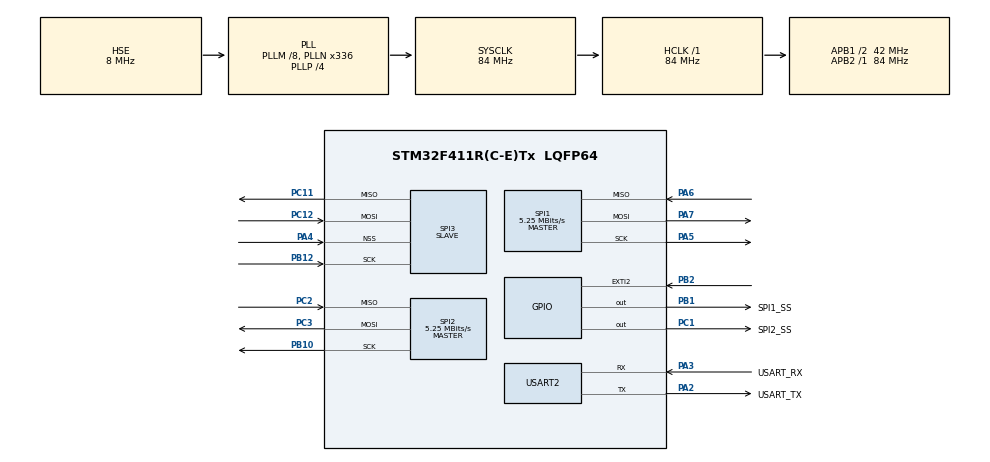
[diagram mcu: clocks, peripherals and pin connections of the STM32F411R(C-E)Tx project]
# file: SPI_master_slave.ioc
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Dma.Request0=USART2_RX
Dma.Request1=USART2_TX
Dma.Request2=SPI2_RX
Dma.Request3=SPI2_TX
Dma.Request4=SPI3_RX
Dma.Request5=SPI3_TX
Dma.SPI2_RX.2.Direction=DMA_PERIPH_TO_MEMORY
Dma.SPI2_RX.2.FIFOMode=DMA_FIFOMODE_DISABLE
Dma.SPI2_RX.2.Instance=DMA1_Stream3
Dma.SPI2_RX.2.MemDataAlignment=DMA_MDATAALIGN_BYTE
Dma.SPI2_RX.2.MemInc=DMA_MINC_ENABLE
Dma.SPI2_RX.2.Mode=DMA_NORMAL
Dma.SPI2_RX.2.PeriphDataAlignment=DMA_PDATAALIGN_BYTE
Dma.SPI2_RX.2.PeriphInc=DMA_PINC_DISABLE
Dma.SPI2_RX.2.Priority=DMA_PRIORITY_LOW
Dma.SPI2_TX.3.Direction=DMA_MEMORY_TO_PERIPH
Dma.SPI2_TX.3.FIFOMode=DMA_FIFOMODE_DISABLE
Dma.SPI2_TX.3.Instance=DMA1_Stream4
Dma.SPI2_TX.3.MemDataAlignment=DMA_MDATAALIGN_BYTE
Dma.SPI2_TX.3.MemInc=DMA_MINC_ENABLE
Dma.SPI2_TX.3.Mode=DMA_NORMAL
Dma.SPI2_TX.3.PeriphDataAlignment=DMA_PDATAALIGN_BYTE
Dma.SPI2_TX.3.PeriphInc=DMA_PINC_DISABLE
Dma.SPI2_TX.3.Priority=DMA_PRIORITY_LOW
Dma.SPI3_RX.4.Direction=DMA_PERIPH_TO_MEMORY
Dma.SPI3_RX.4.FIFOMode=DMA_FIFOMODE_DISABLE
Dma.SPI3_RX.4.Instance=DMA1_Stream0
Dma.SPI3_RX.4.MemDataAlignment=DMA_MDATAALIGN_BYTE
Dma.SPI3_RX.4.MemInc=DMA_MINC_ENABLE
Dma.SPI3_RX.4.Mode=DMA_NORMAL
Dma.SPI3_RX.4.PeriphDataAlignment=DMA_PDATAALIGN_BYTE
Dma.SPI3_RX.4.PeriphInc=DMA_PINC_DISABLE
Dma.SPI3_RX.4.Priority=DMA_PRIORITY_LOW
Dma.SPI3_TX.5.Direction=DMA_MEMORY_TO_PERIPH
Dma.SPI3_TX.5.FIFOMode=DMA_FIFOMODE_DISABLE
Dma.SPI3_TX.5.Instance=DMA1_Stream7
Dma.SPI3_TX.5.MemDataAlignment=DMA_MDATAALIGN_BYTE
Dma.SPI3_TX.5.MemInc=DMA_MINC_ENABLE
Dma.SPI3_TX.5.Mode=DMA_NORMAL
Dma.SPI3_TX.5.PeriphDataAlignment=DMA_PDATAALIGN_BYTE
Dma.SPI3_TX.5.PeriphInc=DMA_PINC_DISABLE
Dma.SPI3_TX.5.Priority=DMA_PRIORITY_LOW
Dma.USART2_RX.0.Direction=DMA_PERIPH_TO_MEMORY
Dma.USART2_RX.0.FIFOMode=DMA_FIFOMODE_DISABLE
Dma.USART2_RX.0.Instance=DMA1_Stream5
Dma.USART2_RX.0.MemDataAlignment=DMA_MDATAALIGN_BYTE
Dma.USART2_RX.0.MemInc=DMA_MINC_ENABLE
Dma.USART2_RX.0.Mode=DMA_NORMAL
Dma.USART2_RX.0.PeriphDataAlignment=DMA_PDATAALIGN_BYTE
Dma.USART2_RX.0.PeriphInc=DMA_PINC_DISABLE
Dma.USART2_RX.0.Priority=DMA_PRIORITY_LOW
Dma.USART2_TX.1.Direction=DMA_MEMORY_TO_PERIPH
Dma.USART2_TX.1.FIFOMode=DMA_FIFOMODE_DISABLE
Dma.USART2_TX.1.Instance=DMA1_Stream6
Dma.USART2_TX.1.MemDataAlignment=DMA_MDATAALIGN_BYTE
Dma.USART2_TX.1.MemInc=DMA_MINC_ENABLE
Dma.USART2_TX.1.Mode=DMA_NORMAL
Dma.USART2_TX.1.PeriphDataAlignment=DMA_PDATAALIGN_BYTE
Dma.USART2_TX.1.PeriphInc=DMA_PINC_DISABLE
Dma.USART2_TX.1.Priority=DMA_PRIORITY_LOW
Mcu.Family=STM32F4
Mcu.Name=STM32F411R(C-E)Tx
Mcu.Package=LQFP64
NVIC.DMA1_Stream0_IRQn=true\:0\:0\:false\:false\:true\:false\:true
NVIC.DMA1_Stream3_IRQn=true\:0\:0\:false\:false\:true\:false\:true
NVIC.DMA1_Stream4_IRQn=true\:0\:0\:false\:false\:true\:false\:true
NVIC.DMA1_Stream5_IRQn=true\:0\:0\:false\:false\:true\:false\:true
NVIC.DMA1_Stream6_IRQn=true\:0\:0\:false\:false\:true\:false\:true
NVIC.DMA1_Stream7_IRQn=true\:0\:0\:false\:false\:true\:false\:true
NVIC.EXTI2_IRQn=true\:0\:0\:false\:false\:true\:true\:true
NVIC.PriorityGroup=NVIC_PRIORITYGROUP_0
NVIC.SPI2_IRQn=true\:0\:0\:false\:false\:true\:true\:true
NVIC.SPI3_IRQn=true\:0\:0\:false\:false\:true\:true\:true
NVIC.USART2_IRQn=true\:0\:0\:false\:false\:true\:true\:true
PA13.GPIO_Label=TMS
PA13.Mode=Serial_Wire
PA13.Signal=SYS_JTMS-SWDIO
PA14.GPIO_Label=TCK
PA14.Mode=Serial_Wire
PA14.Signal=SYS_JTCK-SWCLK
PA2.GPIO_Label=USART_TX
PA2.Mode=Asynchronous
PA2.Signal=USART2_TX
PA3.GPIO_Label=USART_RX
PA3.Mode=Asynchronous
PA3.Signal=USART2_RX
PA4.Mode=NSS_Signal_Hard_Input
PA4.Signal=SPI3_NSS
PA5.Mode=Full_Duplex_Master
PA5.Signal=SPI1_SCK
PA6.Mode=Full_Duplex_Master
PA6.Signal=SPI1_MISO
PA7.Mode=Full_Duplex_Master
PA7.Signal=SPI1_MOSI
PB1.GPIO_Label=SPI1_SS
PB1.GPIO_Speed=GPIO_SPEED_FREQ_MEDIUM
PB1.Signal=GPIO_Output
PB10.Mode=Full_Duplex_Master
PB10.Signal=SPI2_SCK
PB12.Mode=Full_Duplex_Slave
PB12.Signal=SPI3_SCK
PB2.Signal=GPXTI2
PB3.GPIO_Label=SWO
PB3.Signal=SYS_JTDO-SWO
PC1.GPIO_Label=SPI2_SS
PC1.GPIO_Speed=GPIO_SPEED_FREQ_MEDIUM
PC1.Signal=GPIO_Output
PC11.Mode=Full_Duplex_Slave
PC11.Signal=SPI3_MISO
PC12.Mode=Full_Duplex_Slave
PC12.Signal=SPI3_MOSI
PC14-OSC32_IN.Signal=RCC_OSC32_IN
PC15-OSC32_OUT.Signal=RCC_OSC32_OUT
PC2.Mode=Full_Duplex_Master
PC2.Signal=SPI2_MISO
PC3.Mode=Full_Duplex_Master
PC3.Signal=SPI2_MOSI
PH0\ -\ OSC_IN.Mode=HSE-External-Oscillator
PH0\ -\ OSC_IN.Signal=RCC_OSC_IN
PH1\ -\ OSC_OUT.Mode=HSE-External-Oscillator
PH1\ -\ OSC_OUT.Signal=RCC_OSC_OUT
ProjectManager.HeapSize=0x400
ProjectManager.StackSize=0x800
ProjectManager.TargetToolchain=TrueSTUDIO
RCC.48MHZClocksFreq_Value=84000000
RCC.AHBFreq_Value=84000000
RCC.APB1CLKDivider=RCC_HCLK_DIV2
RCC.APB1Freq_Value=42000000
RCC.APB1TimFreq_Value=84000000
RCC.APB2Freq_Value=84000000
RCC.APB2TimFreq_Value=84000000
RCC.CortexFreq_Value=84000000
RCC.DATA_CACHE_ENABLE=0
RCC.FLatency-AdvancedSettings=FLASH_LATENCY_2
RCC.HCLKFreq_Value=84000000
RCC.HSE_VALUE=8000000
RCC.HSI_VALUE=16000000
RCC.LSE_VALUE=32768
RCC.PLLM=8
RCC.PLLN=336
RCC.PLLP=RCC_PLLP_DIV4
RCC.PLLSourceVirtual=RCC_PLLSOURCE_HSE
RCC.SYSCLKFreq_VALUE=84000000
RCC.SYSCLKSource=RCC_SYSCLKSOURCE_PLLCLK
RCC.VCOOutputFreq_Value=336000000
SPI1.BaudRatePrescaler=SPI_BAUDRATEPRESCALER_16
SPI1.CalculateBaudRate=5.25 MBits/s
SPI1.Direction=SPI_DIRECTION_2LINES
SPI1.Mode=SPI_MODE_MASTER
SPI1.VirtualType=VM_MASTER
SPI2.BaudRatePrescaler=SPI_BAUDRATEPRESCALER_8
SPI2.CalculateBaudRate=5.25 MBits/s
SPI2.Direction=SPI_DIRECTION_2LINES
SPI2.Mode=SPI_MODE_MASTER
SPI2.VirtualType=VM_MASTER
SPI3.Direction=SPI_DIRECTION_2LINES
SPI3.Mode=SPI_MODE_SLAVE
SPI3.VirtualNSS=VM_NSSHARD
SPI3.VirtualType=VM_SLAVE
USART2.VirtualMode=VM_ASYNC
board=NUCLEO-F411RE

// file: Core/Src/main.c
/* USER CODE BEGIN Header */
/**
  ******************************************************************************
  * @file           : main.c
  * @brief          : Main program body
  ******************************************************************************
  * @attention
  *
  * <h2><center>&copy; Copyright (c) 2021 STMicroelectronics.
  * All rights reserved.</center></h2>
  *
  * This software component is licensed by ST under BSD 3-Clause license,
  * the "License"; You may not use this file except in compliance with the
  * License. You may obtain a copy of the License at:
  *                        opensource.org/licenses/BSD-3-Clause
  *
  ******************************************************************************
  */
/* USER CODE END Header */
#include "main.h"

/* USER CODE BEGIN Includes */
#include "MPU9250.h"
#include <string.h>
#include <math.h>
#include <stdio.h>
#include <stdlib.h>
/* USER CODE END Includes */

/* USER CODE BEGIN PD */
#define RECV_BUFF_SIZE 60
#define NELEMS(x) (sizeof(x) / sizeof((x)[0]))
#define MASTER_CS_RESET HAL_GPIO_WritePin(GPIOC, SPI2_SS_Pin, GPIO_PIN_RESET)
#define MASTER_CS_SET HAL_GPIO_WritePin(GPIOC, SPI2_SS_Pin, GPIO_PIN_SET)
/* USER CODE END PD */

SPI_HandleTypeDef hspi1;
SPI_HandleTypeDef hspi2;
SPI_HandleTypeDef hspi3;
DMA_HandleTypeDef hdma_spi2_rx;
DMA_HandleTypeDef hdma_spi2_tx;
DMA_HandleTypeDef hdma_spi3_rx;
DMA_HandleTypeDef hdma_spi3_tx;

UART_HandleTypeDef huart2;
DMA_HandleTypeDef hdma_usart2_rx;
DMA_HandleTypeDef hdma_usart2_tx;

/* USER CODE BEGIN PV */
/* DMA flags */
volatile uint8_t irq_mcu9250 = 0;
volatile uint8_t has_command = 0;
volatile uint8_t received_from_master = 0;
volatile uint8_t received_from_slave = 0;
volatile uint8_t flag = 0; //Command flag
volatile uint8_t cycle_flag = 0;
volatile uint8_t Unprocessed_UART_buff_detected = RESET;

uint8_t SPI_recv_buff[RECV_BUFF_SIZE];
uint8_t UART_recv_buff[RECV_BUFF_SIZE]; //Array for storing UART receive data
char response_transmit[RECV_BUFF_SIZE];
char response_receive[RECV_BUFF_SIZE];

/* Wildcards for checking command */
uint8_t get_accelrule[] = {'G','e','t',' ','A','c','c','e','l'};
uint8_t get_angelrule[] = {'G','e','t',' ','A','n','g','e','l'};
uint8_t get_timerule[] = {'S','e','t',' ','t','i','m','e'};
uint8_t return_err[RECV_BUFF_SIZE];
uint8_t args_buff[4] = {'\n','\n','\n','\n'}; //Max length of args: 4.
uint16_t checksum_accelrule = NELEMS(get_accelrule);
uint16_t checksum_angelrule = NELEMS(get_angelrule);
uint16_t checksum_timerule = NELEMS(get_timerule);
uint32_t command_delay = 500;

/* Data from sensor */
int32_t ACCEL_X = 0;
int32_t ACCEL_Y = 0;
int32_t ACCEL_Z = 0;

int32_t ACCEL_XANGLE = 0;
int32_t ACCEL_YANGLE = 0;
int32_t ACCEL_ZANGLE = 0;

/* USER CODE END PV */

void SystemClock_Config(void);
static void MX_GPIO_Init(void);
static void MX_DMA_Init(void);
static void MX_SPI1_Init(void);
static void MX_SPI2_Init(void);
static void MX_SPI3_Init(void);
static void MX_USART2_UART_Init(void);
/* USER CODE BEGIN PFP */
void TransmitSensorData();
void PhysVectorsToAccel();
void AccelToAngel();
void ClearBuff(uint8_t* buff);
void GetAccel();
void GetAngel();
void USER_UART_IDLECallback(UART_HandleTypeDef *huart);
void SPISendError();
void SPISendData(uint32_t x_val, uint32_t y_val, uint32_t z_val);
uint8_t ParseCommand(uint8_t* UART_receive);
void ClearBuff(uint8_t* buff);
/* USER CODE END PFP */

int main(void)
{

  /* MCU Configuration--------------------------------------------------------*/

  /* Reset of all peripherals, Initializes the Flash interface and the Systick. */
  HAL_Init();

  /* Configure the system clock */
  SystemClock_Config();

  /* Initialize all configured peripherals */
  MX_GPIO_Init();
  MX_DMA_Init();
  MX_SPI1_Init();
  MX_SPI2_Init();
  MX_SPI3_Init();
  MX_USART2_UART_Init();
  /* USER CODE BEGIN 2 */
  __HAL_UART_ENABLE_IT(&huart2, UART_IT_IDLE); //Enble IDLE IRQs
    HAL_UART_Receive_DMA(&huart2, UART_recv_buff, RECV_BUFF_SIZE-1); //Start DMA

    int st;
    st = MPU_begin();
    HAL_Delay(100);
    enableDataReadyInterrupt();
    HAL_Delay(100);
    setSrd(0);
  /* USER CODE END 2 */

  /* Infinite loop */
  while (1)
  {

    /* USER CODE BEGIN 3 */
	  if(irq_mcu9250 == 1) {
			irq_mcu9250 = 0;

			//Get data to MCU2 from USART PC (to UART2)
			__HAL_UART_ENABLE_IT(&huart2, UART_IT_IDLE);
			HAL_UART_Receive_DMA(&huart2, UART_recv_buff, RECV_BUFF_SIZE-1);

			if(has_command) {
				has_command = 0; //after transmit completed disable flag
				//Ready receiving bytes from SPI2 Master
				MASTER_CS_RESET;
				uint32_t plug = *(uint32_t*)hspi3.Instance->DR; //check hardware buffer SPI3
				HAL_SPI_Receive_DMA(&hspi3, SPI_recv_buff, RECV_BUFF_SIZE-1);
				//Transmit bytes from SPI2 Master to SPI3 Slave
				HAL_SPI_Transmit_DMA(&hspi2, UART_recv_buff, RECV_BUFF_SIZE-1);
			}

			if(received_from_master) {
				received_from_master = 0;
				//Parse received command from SLAVE SPI3 on side MCU1
				cycle_flag = ParseCommand(SPI_recv_buff);
			}

			if(received_from_slave) {
				received_from_slave = 0;

				if(cycle_flag == 1) {
					GetAccel();
					HAL_Delay(command_delay-100);
				} else if(cycle_flag == 2) {
					GetAngel();
					HAL_Delay(command_delay-100);
				}

				//UART terminal print on side MCU2
				HAL_UART_Transmit_DMA(&huart2, (uint8_t*)response_receive, strlen(response_receive));
				HAL_Delay(100);

				/* Clear buffers */
				ClearBuff(UART_recv_buff);
				ClearBuff(SPI_recv_buff);
				ClearBuff(response_transmit);
				ClearBuff(response_receive);
			}
		}
  }
  /* USER CODE END 3 */
}

void SystemClock_Config(void)
{
  RCC_OscInitTypeDef RCC_OscInitStruct = {0};
  RCC_ClkInitTypeDef RCC_ClkInitStruct = {0};

  /** Configure the main internal regulator output voltage
  */
  __HAL_RCC_PWR_CLK_ENABLE();
  __HAL_PWR_VOLTAGESCALING_CONFIG(PWR_REGULATOR_VOLTAGE_SCALE1);
  /** Initializes the RCC Oscillators according to the specified parameters
  * in the RCC_OscInitTypeDef structure.
  */
  RCC_OscInitStruct.OscillatorType = RCC_OSCILLATORTYPE_HSE;
  RCC_OscInitStruct.HSEState = RCC_HSE_ON;
  RCC_OscInitStruct.PLL.PLLState = RCC_PLL_ON;
  RCC_OscInitStruct.PLL.PLLSource = RCC_PLLSOURCE_HSE;
  RCC_OscInitStruct.PLL.PLLM = 8;
  RCC_OscInitStruct.PLL.PLLN = 336;
  RCC_OscInitStruct.PLL.PLLP = RCC_PLLP_DIV4;
  RCC_OscInitStruct.PLL.PLLQ = 4;
  if (HAL_RCC_OscConfig(&RCC_OscInitStruct) != HAL_OK)
  {
    Error_Handler();
  }
  /** Initializes the CPU, AHB and APB buses clocks
  */
  RCC_ClkInitStruct.ClockType = RCC_CLOCKTYPE_HCLK|RCC_CLOCKTYPE_SYSCLK
                              |RCC_CLOCKTYPE_PCLK1|RCC_CLOCKTYPE_PCLK2;
  RCC_ClkInitStruct.SYSCLKSource = RCC_SYSCLKSOURCE_PLLCLK;
  RCC_ClkInitStruct.AHBCLKDivider = RCC_SYSCLK_DIV1;
  RCC_ClkInitStruct.APB1CLKDivider = RCC_HCLK_DIV2;
  RCC_ClkInitStruct.APB2CLKDivider = RCC_HCLK_DIV1;

  if (HAL_RCC_ClockConfig(&RCC_ClkInitStruct, FLASH_LATENCY_2) != HAL_OK)
  {
    Error_Handler();
  }
}

static void MX_SPI1_Init(void)
{

  /* SPI1 parameter configuration*/
  hspi1.Instance = SPI1;
  hspi1.Init.Mode = SPI_MODE_MASTER;
  hspi1.Init.Direction = SPI_DIRECTION_2LINES;
  hspi1.Init.DataSize = SPI_DATASIZE_8BIT;
  hspi1.Init.CLKPolarity = SPI_POLARITY_LOW;
  hspi1.Init.CLKPhase = SPI_PHASE_1EDGE;
  hspi1.Init.NSS = SPI_NSS_SOFT;
  hspi1.Init.BaudRatePrescaler = SPI_BAUDRATEPRESCALER_16;
  hspi1.Init.FirstBit = SPI_FIRSTBIT_MSB;
  hspi1.Init.TIMode = SPI_TIMODE_DISABLE;
  hspi1.Init.CRCCalculation = SPI_CRCCALCULATION_DISABLE;
  hspi1.Init.CRCPolynomial = 10;
  if (HAL_SPI_Init(&hspi1) != HAL_OK)
  {
    Error_Handler();
  }

}

static void MX_SPI2_Init(void)
{

  /* SPI2 parameter configuration*/
  hspi2.Instance = SPI2;
  hspi2.Init.Mode = SPI_MODE_MASTER;
  hspi2.Init.Direction = SPI_DIRECTION_2LINES;
  hspi2.Init.DataSize = SPI_DATASIZE_8BIT;
  hspi2.Init.CLKPolarity = SPI_POLARITY_LOW;
  hspi2.Init.CLKPhase = SPI_PHASE_1EDGE;
  hspi2.Init.NSS = SPI_NSS_SOFT;
  hspi2.Init.BaudRatePrescaler = SPI_BAUDRATEPRESCALER_8;
  hspi2.Init.FirstBit = SPI_FIRSTBIT_MSB;
  hspi2.Init.TIMode = SPI_TIMODE_DISABLE;
  hspi2.Init.CRCCalculation = SPI_CRCCALCULATION_DISABLE;
  hspi2.Init.CRCPolynomial = 10;
  if (HAL_SPI_Init(&hspi2) != HAL_OK)
  {
    Error_Handler();
  }

}

static void MX_SPI3_Init(void)
{

  /* SPI3 parameter configuration*/
  hspi3.Instance = SPI3;
  hspi3.Init.Mode = SPI_MODE_SLAVE;
  hspi3.Init.Direction = SPI_DIRECTION_2LINES;
  hspi3.Init.DataSize = SPI_DATASIZE_8BIT;
  hspi3.Init.CLKPolarity = SPI_POLARITY_LOW;
  hspi3.Init.CLKPhase = SPI_PHASE_1EDGE;
  hspi3.Init.NSS = SPI_NSS_HARD_INPUT;
  hspi3.Init.FirstBit = SPI_FIRSTBIT_MSB;
  hspi3.Init.TIMode = SPI_TIMODE_DISABLE;
  hspi3.Init.CRCCalculation = SPI_CRCCALCULATION_DISABLE;
  hspi3.Init.CRCPolynomial = 10;
  if (HAL_SPI_Init(&hspi3) != HAL_OK)
  {
    Error_Handler();
  }

}

static void MX_USART2_UART_Init(void)
{

  huart2.Instance = USART2;
  huart2.Init.BaudRate = 115200;
  huart2.Init.WordLength = UART_WORDLENGTH_8B;
  huart2.Init.StopBits = UART_STOPBITS_1;
  huart2.Init.Parity = UART_PARITY_NONE;
  huart2.Init.Mode = UART_MODE_TX_RX;
  huart2.Init.HwFlowCtl = UART_HWCONTROL_NONE;
  huart2.Init.OverSampling = UART_OVERSAMPLING_16;
  if (HAL_UART_Init(&huart2) != HAL_OK)
  {
    Error_Handler();
  }

}

static void MX_DMA_Init(void)
{

  /* DMA controller clock enable */
  __HAL_RCC_DMA1_CLK_ENABLE();

  /* DMA interrupt init */
  /* DMA1_Stream0_IRQn interrupt configuration */
  HAL_NVIC_SetPriority(DMA1_Stream0_IRQn, 0, 0);
  HAL_NVIC_EnableIRQ(DMA1_Stream0_IRQn);
  /* DMA1_Stream3_IRQn interrupt configuration */
  HAL_NVIC_SetPriority(DMA1_Stream3_IRQn, 0, 0);
  HAL_NVIC_EnableIRQ(DMA1_Stream3_IRQn);
  /* DMA1_Stream4_IRQn interrupt configuration */
  HAL_NVIC_SetPriority(DMA1_Stream4_IRQn, 0, 0);
  HAL_NVIC_EnableIRQ(DMA1_Stream4_IRQn);
  /* DMA1_Stream5_IRQn interrupt configuration */
  HAL_NVIC_SetPriority(DMA1_Stream5_IRQn, 0, 0);
  HAL_NVIC_EnableIRQ(DMA1_Stream5_IRQn);
  /* DMA1_Stream6_IRQn interrupt configuration */
  HAL_NVIC_SetPriority(DMA1_Stream6_IRQn, 0, 0);
  HAL_NVIC_EnableIRQ(DMA1_Stream6_IRQn);
  /* DMA1_Stream7_IRQn interrupt configuration */
  HAL_NVIC_SetPriority(DMA1_Stream7_IRQn, 0, 0);
  HAL_NVIC_EnableIRQ(DMA1_Stream7_IRQn);

}

static void MX_GPIO_Init(void)
{
  GPIO_InitTypeDef GPIO_InitStruct = {0};

  /* GPIO Ports Clock Enable */
  __HAL_RCC_GPIOC_CLK_ENABLE();
  __HAL_RCC_GPIOH_CLK_ENABLE();
  __HAL_RCC_GPIOA_CLK_ENABLE();
  __HAL_RCC_GPIOB_CLK_ENABLE();

  /*Configure GPIO pin Output Level */
  HAL_GPIO_WritePin(SPI2_SS_GPIO_Port, SPI2_SS_Pin, GPIO_PIN_RESET);

  /*Configure GPIO pin Output Level */
  HAL_GPIO_WritePin(SPI1_SS_GPIO_Port, SPI1_SS_Pin, GPIO_PIN_RESET);

  /*Configure GPIO pin : SPI2_SS_Pin */
  GPIO_InitStruct.Pin = SPI2_SS_Pin;
  GPIO_InitStruct.Mode = GPIO_MODE_OUTPUT_PP;
  GPIO_InitStruct.Pull = GPIO_NOPULL;
  GPIO_InitStruct.Speed = GPIO_SPEED_FREQ_MEDIUM;
  HAL_GPIO_Init(SPI2_SS_GPIO_Port, &GPIO_InitStruct);

  /*Configure GPIO pin : SPI1_SS_Pin */
  GPIO_InitStruct.Pin = SPI1_SS_Pin;
  GPIO_InitStruct.Mode = GPIO_MODE_OUTPUT_PP;
  GPIO_InitStruct.Pull = GPIO_NOPULL;
  GPIO_InitStruct.Speed = GPIO_SPEED_FREQ_MEDIUM;
  HAL_GPIO_Init(SPI1_SS_GPIO_Port, &GPIO_InitStruct);

  /*Configure GPIO pin : PB2 */
  GPIO_InitStruct.Pin = GPIO_PIN_2;
  GPIO_InitStruct.Mode = GPIO_MODE_IT_RISING;
  GPIO_InitStruct.Pull = GPIO_NOPULL;
  HAL_GPIO_Init(GPIOB, &GPIO_InitStruct);

  /* EXTI interrupt init*/
  HAL_NVIC_SetPriority(EXTI2_IRQn, 0, 0);
  HAL_NVIC_EnableIRQ(EXTI2_IRQn);

}

/* USER CODE BEGIN 4 */
void PhysVectorsToAccel() {
         ACCEL_X = _axcounts * 256 + _gxcounts;
         ACCEL_Y = _aycounts * 256 + _gycounts;
         ACCEL_Z = _azcounts * 256 + _gzcounts;
}

void AccelToAngel() {
         ACCEL_XANGLE = 57.295* atan((float)-ACCEL_X/ sqrt(pow((float)ACCEL_Y, 2)+ pow((float)ACCEL_Z, 2)));
         ACCEL_YANGLE = 57.295* atan((float)-ACCEL_Y/ sqrt(pow((float)ACCEL_X, 2)+ pow((float)ACCEL_Z, 2)));
         ACCEL_ZANGLE = 57.295* atan((float)-ACCEL_Z/ sqrt(pow((float)ACCEL_X, 2)+ pow((float)ACCEL_Y, 2)));
}

void HAL_GPIO_EXTI_Callback(uint16_t GPIO_Pin)
{
        if (GPIO_Pin==GPIO_PIN_2) //PB1 EXTI1 (from MPU9250)
        {
                irq_mcu9250 = 1;
        }
}

//Print error about invalid command
void SPISendError() {
	sprintf(return_err, "Invalid command!\r\n");
	HAL_Delay(500);
	//Ready receiving bytes from SPI3 Slave
	MASTER_CS_RESET;
	//Transmit bytes from SPI3 Slave to SPI2 Master
	HAL_SPI_Transmit_DMA(&hspi3, (uint8_t*)return_err, RECV_BUFF_SIZE-1);
	HAL_SPI_Receive_DMA(&hspi2, (uint8_t*)response_receive, RECV_BUFF_SIZE-1);
}

//Determine state machine with 2^3-1 combinations and print results
//for GetAccel() and GetAngel()
void SPISendData(uint32_t x_val, uint32_t y_val, uint32_t z_val) {
	char X = ' ';
	char Y = ' ';
	char Z = ' ';

	X = args_buff[0];
	Y = args_buff[1];
	Z = args_buff[2];

	//State machine with 2^3-1 combinations
	if(X == 'X' && Y == '\n' && Z == '\n') {
		//X
		if(flag == 1) {
			//Accel

			sprintf(response_transmit, "x:%08d rad/sec\r\n", x_val);

			//Ready receiving bytes from SPI3 Slave
			MASTER_CS_RESET;
			//Transmit bytes from SPI3 Slave to SPI2 Master
			HAL_SPI_Transmit_DMA(&hspi3, (uint8_t*)response_transmit, RECV_BUFF_SIZE-1);

			uint32_t plug = *(uint32_t*)hspi2.Instance->DR;
			HAL_SPI_Receive_DMA(&hspi2, (uint8_t*)response_receive, RECV_BUFF_SIZE-1);

		} else if(flag == 2) {
			//Angel

			sprintf(response_transmit, "x:%04d gr\r\n", x_val);

			//Ready receiving bytes from SPI3 Slave
			MASTER_CS_RESET;
			//Transmit bytes from SPI3 Slave to SPI2 Master
			HAL_SPI_Transmit_DMA(&hspi3, (uint8_t*)response_transmit, RECV_BUFF_SIZE-1);

			uint32_t plug = *(uint32_t*)hspi2.Instance->DR;
			HAL_SPI_Receive_DMA(&hspi2, (uint8_t*)response_receive, RECV_BUFF_SIZE-1);

		}

	} else if (X == '\n' && Y == 'Y' && Z == '\n') {
		//Y

		if(flag == 1) {
			//Accel

			sprintf(response_transmit, "y:%08d rad/sec\r\n", y_val);

			//Ready receiving bytes from SPI3 Slave
			MASTER_CS_RESET;
			//Transmit bytes from SPI3 Slave to SPI2 Master
			HAL_SPI_Transmit_DMA(&hspi3, (uint8_t*)response_transmit, RECV_BUFF_SIZE-1);

			uint32_t plug = *(uint32_t*)hspi2.Instance->DR;
			HAL_SPI_Receive_DMA(&hspi2, (uint8_t*)response_receive, RECV_BUFF_SIZE-1);

		} else if(flag == 2) {
			//Angel

			sprintf(response_transmit, "y:%04d gr\r\n", y_val);

			//Ready receiving bytes from SPI3 Slave
			MASTER_CS_RESET;
			//Transmit bytes from SPI3 Slave to SPI2 Master
			HAL_SPI_Transmit_DMA(&hspi3, (uint8_t*)response_transmit, RECV_BUFF_SIZE-1);

			uint32_t plug = *(uint32_t*)hspi2.Instance->DR;
			HAL_SPI_Receive_DMA(&hspi2, (uint8_t*)response_receive, RECV_BUFF_SIZE-1);

		}

	} else if (X == '\n' && Y == '\n' && Z == 'Z') {
		//Z

		if(flag == 1) {
			//Accel

			sprintf(response_transmit, "z:%08d rad/sec\r\n", z_val);

			//Ready receiving bytes from SPI3 Slave
			MASTER_CS_RESET;
			//Transmit bytes from SPI3 Slave to SPI2 Master
			HAL_SPI_Transmit_DMA(&hspi3, (uint8_t*)response_transmit, RECV_BUFF_SIZE-1);

			uint32_t plug = *(uint32_t*)hspi2.Instance->DR;
			HAL_SPI_Receive_DMA(&hspi2, (uint8_t*)response_receive, RECV_BUFF_SIZE-1);

		} else if(flag == 2) {
			//Angel

			sprintf(response_transmit, "z:%04d gr\r\n", z_val);

			//Ready receiving bytes from SPI3 Slave
			MASTER_CS_RESET;
			//Transmit bytes from SPI3 Slave to SPI2 Master
			HAL_SPI_Transmit_DMA(&hspi3, (uint8_t*)response_transmit, RECV_BUFF_SIZE-1);

			uint32_t plug = *(uint32_t*)hspi2.Instance->DR;
			HAL_SPI_Receive_DMA(&hspi2, (uint8_t*)response_receive, RECV_BUFF_SIZE-1);

		}

	} else if (X == 'X' && Y == 'Y' && Z == '\n') {
		//XY

		if(flag == 1) {
			//Accel

			sprintf(response_transmit, "x:%08d rad/sec;y:%08d rad/sec\r\n", x_val, y_val);

			//Ready receiving bytes from SPI3 Slave
			MASTER_CS_RESET;
			//Transmit bytes from SPI3 Slave to SPI2 Master
			HAL_SPI_Transmit_DMA(&hspi3, (uint8_t*)response_transmit, RECV_BUFF_SIZE-1);

			uint32_t plug = *(uint32_t*)hspi2.Instance->DR;
			HAL_SPI_Receive_DMA(&hspi2, (uint8_t*)response_receive, RECV_BUFF_SIZE-1);

		} else if(flag == 2) {
			//Angel

			sprintf(response_transmit, "x:%04d gr;y:%04d gr\r\n", x_val, y_val);

			//Ready receiving bytes from SPI3 Slave
			MASTER_CS_RESET;
			//Transmit bytes from SPI3 Slave to SPI2 Master
			HAL_SPI_Transmit_DMA(&hspi3, (uint8_t*)response_transmit, RECV_BUFF_SIZE-1);

			uint32_t plug = *(uint32_t*)hspi2.Instance->DR;
			HAL_SPI_Receive_DMA(&hspi2, (uint8_t*)response_receive, RECV_BUFF_SIZE-1);
		}

	} else if (X == '\n' && Y == 'Y' && Z == 'Z') {
		//YZ

		if(flag == 1) {
			//Accel

			sprintf(response_transmit, "y:%08d rad/sec;z:%08d rad/sec\r\n", y_val, z_val);

			//Ready receiving bytes from SPI3 Slave
			MASTER_CS_RESET;
			//Transmit bytes from SPI3 Slave to SPI2 Master
			HAL_SPI_Transmit_DMA(&hspi3, (uint8_t*)response_transmit, RECV_BUFF_SIZE-1);

			uint32_t plug = *(uint32_t*)hspi2.Instance->DR;
			HAL_SPI_Receive_DMA(&hspi2, (uint8_t*)response_receive, RECV_BUFF_SIZE-1);

		} else if(flag == 2) {
			//Angel

			sprintf(response_transmit, "y:%04d gr;z:%04d gr;\r\n", y_val, z_val);

			//Ready receiving bytes from SPI3 Slave
			MASTER_CS_RESET;
			//Transmit bytes from SPI3 Slave to SPI2 Master
			HAL_SPI_Transmit_DMA(&hspi3, (uint8_t*)response_transmit, RECV_BUFF_SIZE-1);

			uint32_t plug = *(uint32_t*)hspi2.Instance->DR;
			HAL_SPI_Receive_DMA(&hspi2, (uint8_t*)response_receive, RECV_BUFF_SIZE-1);
		}

	} else if (X == 'X' && Y == '\n' && Z == 'Z') {
		//XZ

		if(flag == 1) {
			//Accel

			sprintf(response_transmit, "x:%08d rad/sec;z:%08d rad/sec\r\n", x_val, z_val);

			//Ready receiving bytes from SPI3 Slave
			MASTER_CS_RESET;
			//Transmit bytes from SPI3 Slave to SPI2 Master
			HAL_SPI_Transmit_DMA(&hspi3, (uint8_t*)response_transmit, RECV_BUFF_SIZE-1);

			uint32_t plug = *(uint32_t*)hspi2.Instance->DR;
			HAL_SPI_Receive_DMA(&hspi2, (uint8_t*)response_receive, RECV_BUFF_SIZE-1);

		} else if(flag == 2) {
			//Angel

			sprintf(response_transmit, "x:%04d gr;z:%04d gr\r\n", x_val, z_val);

			//Ready receiving bytes from SPI3 Slave
			MASTER_CS_RESET;
			//Transmit bytes from SPI3 Slave to SPI2 Master
			HAL_SPI_Transmit_DMA(&hspi3, (uint8_t*)response_transmit, RECV_BUFF_SIZE-1);

			uint32_t plug = *(uint32_t*)hspi2.Instance->DR;
			HAL_SPI_Receive_DMA(&hspi2, (uint8_t*)response_receive, RECV_BUFF_SIZE-1);

		}

	} else if (X == 'X' && Y == 'Y' && Z == 'Z') {
		//XYZ

		if(flag == 1) {
			//Accel
			sprintf(response_transmit, "x:%08d rad/sec;y:%08d rad/sec;z:%08d rad/sec\r\n", x_val, y_val, z_val);
			//Ready receiving bytes from SPI3 Slave
			MASTER_CS_RESET;
			//Transmit bytes from SPI3 Slave to SPI2 Master
			HAL_SPI_Transmit_DMA(&hspi3, (uint8_t*)response_transmit, RECV_BUFF_SIZE-1);

			uint32_t plug = *(uint32_t*)hspi2.Instance->DR;
			HAL_SPI_Receive_DMA(&hspi2, (uint8_t*)response_receive, RECV_BUFF_SIZE-1);

		} else if(flag == 2) {
			//Angel
			sprintf(response_transmit, "x:%04d gr;y:%04d gr;z:%04d gr\r\n", x_val, y_val, z_val);
			//Ready receiving bytes from SPI3 Slave
			MASTER_CS_RESET;
			//Transmit bytes from SPI3 Slave to SPI2 Master
			HAL_SPI_Transmit_DMA(&hspi3, (uint8_t*)response_transmit, RECV_BUFF_SIZE-1);

			uint32_t plug = *(uint32_t*)hspi2.Instance->DR;
			HAL_SPI_Receive_DMA(&hspi2, (uint8_t*)response_receive, RECV_BUFF_SIZE-1);
		}
	}
}

void GetAccel() {
	readSensor(); //get data from registers
	PhysVectorsToAccel(); //set values in global vars
	SPISendData(ACCEL_X, ACCEL_Y, ACCEL_Z); //pass next to determinate and print values
}

void GetAngel() {
	readSensor(); //get data from registers
	PhysVectorsToAccel(); //get accel vectors (globals)
	AccelToAngel(); //get angels from accels vectors (global)
	SPISendData(ACCEL_XANGLE, ACCEL_YANGLE, ACCEL_ZANGLE); //pass next to determinate and print values
}

void SetInterval(uint16_t interval) {
	if(interval > 500 && interval <= 9999) {
		command_delay = interval;
	} else {
		//pass wrong value of interval
		//set default
		command_delay = 500;
	}
}

//Interpreting received UART commands
uint8_t ParseCommand(uint8_t* UART_receive) {
	/* Commands templates */
	//Get Accel ; Get Accel X ; Get Accel Y ; Get Accel Z ; Get Accel XY ; Get Accel YZ;
														 //Get Accel XZ ; GetAccel XYZ ;

	//Get Angel ; Get Angel X ; Get Angel Y ; Get Angel Z ; Get Angel XY ; Get Angel YZ;
														//Get Angel XZ ; Get Angel XYZ ;

	//Set time 500 ; Set time 1000 ; Set time 1500 ; Set time 2000 ;

	//Copy array to buffer
	uint8_t buffer[RECV_BUFF_SIZE];
	for(uint16_t i = 0; i < RECV_BUFF_SIZE; i++) {
		buffer[i] = UART_receive[i];
	}

	/* Search wildcards using checksum */
	uint8_t local_flag = 0;

	uint16_t checksum_1 = 0;
	for(uint16_t i = 0; i < RECV_BUFF_SIZE; i++) {
		if(checksum_1 == checksum_accelrule) {
			local_flag = 1; //Get Accel
			flag = 1;
			break; //Stop cycle after searching command-name wildcard
		}

		if(buffer[i] == get_accelrule[i]) {
			checksum_1++;
		} else {
			break; //break cycle if have mismatch
		}
	}

	uint16_t checksum_2 = 0;
	for(uint16_t i = 0; i < RECV_BUFF_SIZE; i++) {
		if(checksum_2 == checksum_angelrule) {
			local_flag = 2; //Get Angel
			flag = 2;
			break; //Stop cycle after searching command-name wildcard
		}

		if(buffer[i] == get_angelrule[i]) {
			checksum_2++;
		} else {
			break;
		}
	}

	uint16_t checksum_3 = 0;
	for(uint16_t i = 0; i < RECV_BUFF_SIZE; i++) {
		if(checksum_3 == checksum_timerule) {
			local_flag = 3; //Get time
			break; //Stop cycle after searching command-name wildcard
		}

		if(buffer[i] == get_timerule[i]) {
			checksum_3++;
		} else {
			break;
		}
	}

	//Determine range of args and push params in arr
	uint16_t lhs_range = 0;
	uint16_t rhs_range = 0;
	switch(local_flag) {
	case 1:
		//checksum + 1; //checksum + 5;
		lhs_range = checksum_1 + 1;
		rhs_range = checksum_1 + 5;
		break;
	case 2:
		lhs_range = checksum_2 + 1;
		rhs_range = checksum_2 + 5;
		break;
	case 3:
		lhs_range = checksum_3 + 1;
		rhs_range = checksum_3 + 5;
		break;
	}

	for(uint16_t i = lhs_range, j = 0; i < rhs_range; i++, j++) {
		args_buff[j] = buffer[i];
	}

	/* Parse arguments using checksum and wildcards */
	if(local_flag == 1) {

		GetAccel();

	} else if(local_flag == 2) {

		GetAngel();

	} else if (local_flag == 3) {
		uint16_t value = 0;
		value = atoi(args_buff);

		SetInterval(value);
	} else if (local_flag == 0) {
		SPISendError();
	}

	return local_flag;
}

void USER_UART_IRQHandler(UART_HandleTypeDef *huart) {
	if(huart->Instance == USART2) { //Determine serial port
		if(RESET != __HAL_UART_GET_FLAG(huart, UART_FLAG_IDLE)) { //Checking source IDLE IRQ
			__HAL_UART_CLEAR_IDLEFLAG(huart); //Clear IDLE IRQ sign
			USER_UART_IDLECallback(huart); //Call interrupt handler
		}
	}
}

void HAL_SPI_TxCpltCallback(SPI_HandleTypeDef *hspi) {
	if(hspi->Instance == SPI2) {
		MASTER_CS_SET;
	}
}
void HAL_SPI_RxCpltCallback(SPI_HandleTypeDef *hspi) {
	if(hspi->Instance == SPI3) {
		received_from_master = 1;
	}
	if(hspi->Instance == SPI2) {
		received_from_slave = 1;
		MASTER_CS_SET;
	}
}

void USER_UART_IDLECallback(UART_HandleTypeDef *huart) {
	HAL_UART_DMAStop(huart); //Stop DMA transmission
	Unprocessed_UART_buff_detected = SET;
	//Next DMA transmission will be allowed after buffer processing
	has_command = 1;
}

//Clear USART receive buff (pushing '\0' in all positions)
void ClearBuff(uint8_t* buff) {
	for(uint16_t i = 0; i < RECV_BUFF_SIZE; i++) {
		buff[i] = '\0';
	}
}
/* USER CODE END 4 */

void Error_Handler(void)
{
  __disable_irq();
  while (1)
  {
  }
}

/************************ (C) COPYRIGHT STMicroelectronics *****END OF FILE****/
